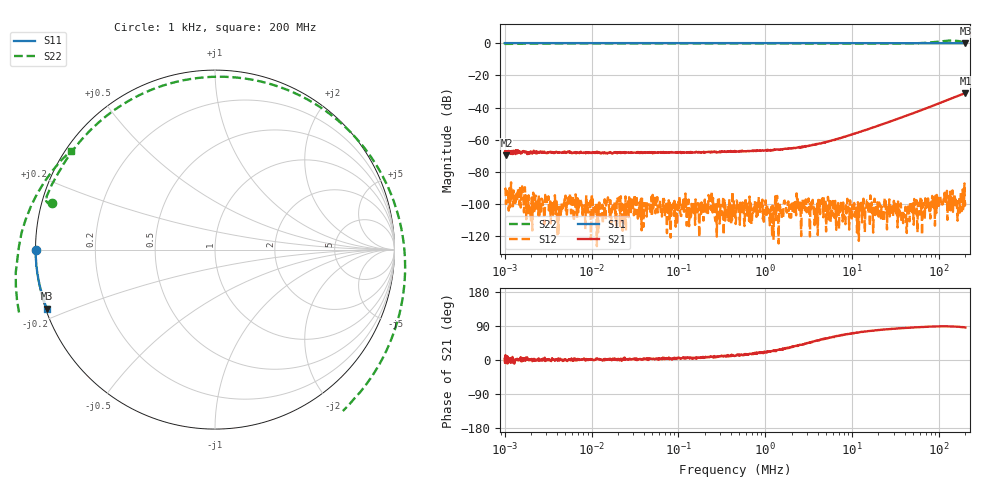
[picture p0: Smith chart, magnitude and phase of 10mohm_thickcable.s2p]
! ListType=Log
# MHZ S RI R 50
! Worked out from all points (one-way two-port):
!   1000 points, 1 kHz to 200 MHz, reference 50 ohm
!   highest |S21| = -31.05 dB at 200 MHz (marker M1); lowest = -69.7 dB at 1.05 kHz (marker M2)
!   lowest |S11| = -0.1 dB at 200 MHz (marker M3), VSWR 270.97, Z = 0.19 - j8.51 ohm
!   |S11| at or under -10 dB: nowhere
!   |S22| runs from -0.5 to 1.7 dB; largest |S21 - S12| = 0.028
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0.001  -0.9998 0.000212  0.000394 2.18e-05  -1.15e-05 -2.99e-05  -0.9089 0.26
0.0010501  -1.001 -0.000143  0.000327 -3.2e-05  -1.36e-05 -1.18e-05  -0.9092 0.2597
0.0076941  -0.9994 -0.000114  0.000392 1.21e-05  -2.1e-06 8.4e-06  -0.9422 0.2759
0.0584804  -0.9995 -0.000134  0.00041 3.34e-05  1.1e-06 -7.5e-06  -0.9406 0.2882
0.4499541  -0.9994 -0.000783  0.000416 8.4e-05  1.8e-06 7.1e-06  -0.9349 0.303
1.508327  -0.9994 -0.0026  0.00044 0.000236  -5.3e-06 1.3e-06  -0.9191 0.3387
3.419952  -0.9993 -0.0057  0.000458 0.000505  -1.8e-06 -7.2e-06  -0.8867 0.4028
12.03851  -0.9992 -0.0203  0.000509 0.00167  -7.5e-06 -3e-07  -0.7122 0.6466
18.46267  -0.9989 -0.0312  0.000521 0.0025  1.7e-06 -4.3e-06  -0.5466 0.7874
26.31347  -0.9984 -0.0444  0.000534 0.00354  3.6e-06 -3.5e-06  -0.3118 0.9064
38.43037  -0.9972 -0.0648  0.000528 0.00512  1.2e-06 -2.3e-06  0.0882 0.9611
50.9003  -0.9955 -0.0855  0.000475 0.00676  -1e-07 -2.3e-06  0.4925 0.8486
64.99008  -0.9927 -0.1093  0.000434 0.00868  6e-06 -3.9e-06  0.8567 0.5339
81.97236  -0.9887 -0.1376  0.000346 0.011  5.3e-06 -7.1e-06  1.057 -0.0223
92.62555  -0.9857 -0.1554  0.000286 0.0125  -3.4e-06 -4.1e-06  1.016 -0.4025
103.3922  -0.9822 -0.1732  0.000269 0.0141  -9.6e-06 -1.12e-05  0.8402 -0.7545
116.8291  -0.9775 -0.1954  0.000336 0.016  1.25e-05 -4.9e-06  0.4616 -1.075
128.8255  -0.9728 -0.215  0.000362 0.0178  -1.25e-05 -1.01e-05  0.0311 -1.195
145.5678  -0.9652 -0.2424  0.000554 0.0204  5.8e-06 -1.22e-05  -0.5687 -1.06
164.4859  -0.9563 -0.2729  0.000886 0.0231  4.6e-06 -3.3e-06  -1.028 -0.5582
179.1732  -0.9484 -0.2996  0.00136 0.0253  -1.87e-05 -8.8e-06  -1.102 -0.0581
200  -0.9368 -0.3284  0.00201 0.028  -1.29e-05 -6.6e-06  -0.8026 0.5506
